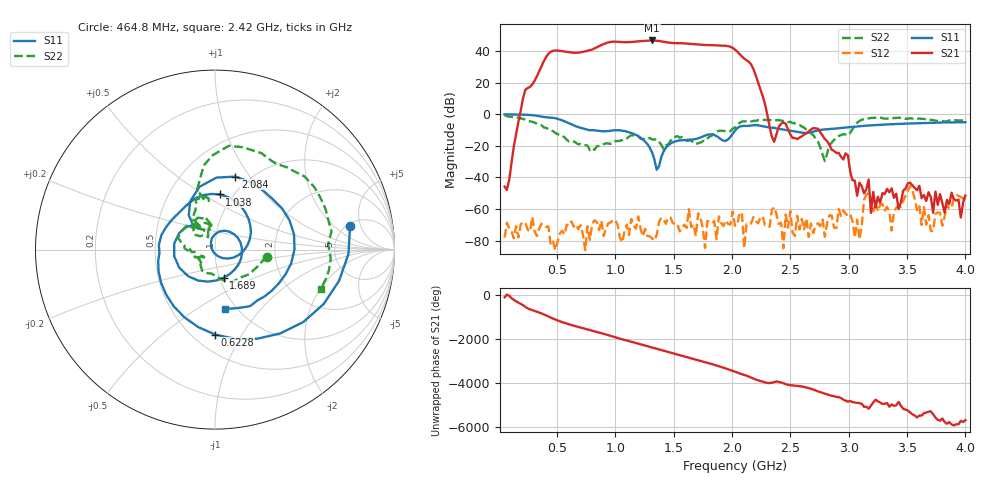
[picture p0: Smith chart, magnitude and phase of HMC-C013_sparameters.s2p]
!Hittite Microwave Corporation
!20 Alpha Road
!Chelmsford, MA 01824
!Tel: 978-250-3343
!Fax: 978-250-3373
!Device: HMC-C013, 0.8-2.0 GHz, 10W PA Module
!Misc: Vdd = +12V, Idd = 6.5 A, Room Temperature
# GHZ S DB R 50
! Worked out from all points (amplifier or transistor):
!   201 points, 50 MHz to 4 GHz, reference 50 ohm
!   highest |S21| = 46.6 dB at 1.314 GHz (marker M1)
!   |S21| within 3 dB of that: 876.4 MHz to 1.833 GHz (956.7 MHz wide, 70.6 % of centre)
!   unconditionally stable (mu >= 1): start of sweep to end of sweep
!   at 701.8 MHz: K = 15.29, MAG = 39.8 dB, |S12| = -70.2 dB
!   at 2.025 GHz: K = 12.00, MAG = 41.9 dB, |S12| = -70.5 dB
!   at 4 GHz: K = 35851.47, MAG = -47.8 dB, |S12| = -53.0 dB
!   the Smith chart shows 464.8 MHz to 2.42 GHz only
!   S11 on the Smith chart (normalised r, x): 464.8 MHz: 5.33, +3.34; 622.8 MHz: 0.63, -0.77; 1.038 GHz: 0.87, +0.59; 1.689 GHz: 1.04, -0.34; 2.084 GHz: 0.86, +0.86; 2.42 GHz: 0.89, -0.66
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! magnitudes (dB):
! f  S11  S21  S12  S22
! 50 MHz  -0.1  -45.8  -78.0  -0.7
! 227.8 MHz  -0.4  15.4  -68.5  -3.4
! 464.8 MHz  -2.3  40.0  -80.5  -10.8
! 622.8 MHz  -6.5  38.9  -67.8  -17.2
! 721.5 MHz  -9.1  39.3  -76.1  -19.5
! 1.038 GHz  -10.2  45.6  -77.8  -16.9
! 1.314 GHz  -24.1  46.6  -78.5  -16.1
! 1.373 GHz  -32.9  46.2  -68.3  -17.3
! 1.689 GHz  -15.7  44.1  -77.1  -18.8
! 2.025 GHz  -10.4  40.8  -70.5  -8.5
! 2.084 GHz  -7.5  36.4  -62.4  -4.7
! 2.104 GHz  -7.4  35.1  -84.5  -4.6
! 2.361 GHz  -8.6  -17.4  -58.8  -3.8
! 2.42 GHz  -9.5  -6.1  -68.7  -4.0
! 2.696 GHz  -11.0  -8.8  -75.2  -13.3
! 2.795 GHz  -9.6  -15.7  -77.5  -29.6
! 2.914 GHz  -8.9  -24.5  -59.9  -13.8
! 3.091 GHz  -7.6  -43.2  -79.1  -4.3
! 3.171 GHz  -7.2  -41.3  -49.7  -2.7
! 3.19 GHz  -7.1  -62.4  -53.4  -2.4
! 3.348 GHz  -6.4  -49.4  -61.5  -2.6
! 4 GHz  -5.1  -51.5  -53.0  -4.2
